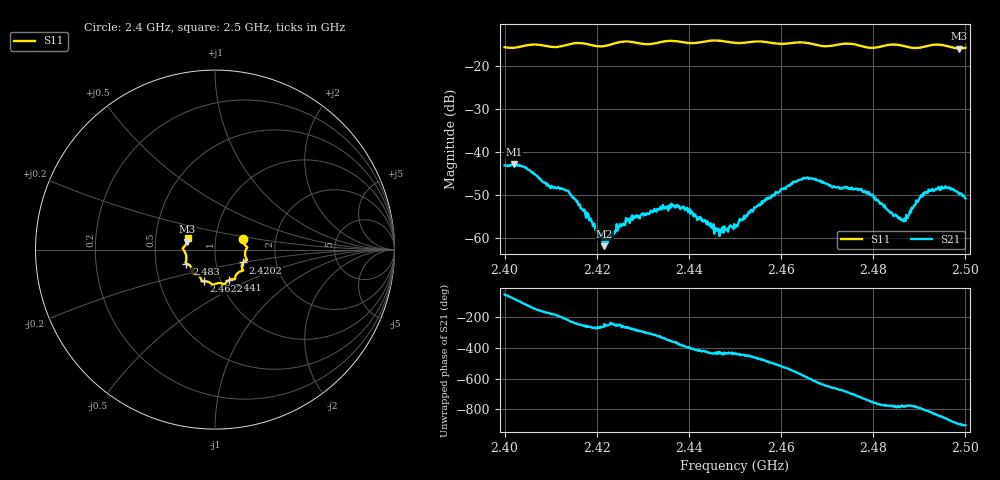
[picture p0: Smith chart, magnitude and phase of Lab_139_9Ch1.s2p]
# Hz S RI R 50
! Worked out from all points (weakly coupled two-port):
!   601 points, 2.4 GHz to 2.5 GHz, reference 50 ohm
!   highest |S21| = -42.82 dB at 2.402 GHz (marker M1); lowest = -61.9 dB at 2.4217 GHz (marker M2)
!   lowest |S11| = -15.8 dB at 2.4987 GHz (marker M3), VSWR 1.39, Z = 36.4 + j3.29 ohm
!   |S11| at or under -10 dB: start of sweep to end of sweep
!   S12 and S22 are empty: the file has one direction only
!   S11 on the Smith chart (normalised r, x): 2.4 GHz: 1.36, +0.17; 2.4202 GHz: 1.35, -0.20; 2.441 GHz: 1.10, -0.39; 2.4622 GHz: 0.83, -0.30; 2.483 GHz: 0.72, -0.12; 2.5 GHz: 0.73, +0.09
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2.4e9  0.1565 0.0607  0.00428 -0.00557  0 0  0 0
2.402e9  0.161 0.0365  0.00142 -0.00709  0 0  0 0
2.4135e9  0.1725 -0.0455  -0.0029 0.00207  0 0  0 0
2.416667e9  0.1776 -0.0581  -0.000675 0.00208  0 0  0 0
2.420167e9  0.1563 -0.0718  -8.88e-05 0.00121  0 0  0 0
2.421667e9  0.15 -0.0858  -0.000352 0.000723  0 0  0 0
2.426833e9  0.1563 -0.1169  -9.27e-06 0.00166  0 0  0 0
2.433333e9  0.1129 -0.1522  0.00176 0.00125  0 0  0 0
2.436333e9  0.1103 -0.1653  0.00247 1.81e-05  0 0  0 0
2.441e9  0.0769 -0.1705  0.00125 -0.00128  0 0  0 0
2.4465e9  0.0503 -0.1934  0.000267 -0.00123  0 0  0 0
2.45e9  0.0269 -0.1864  0.000334 -0.00128  0 0  0 0
2.462167e9  -0.063 -0.1763  -0.00421 0.00028  0 0  0 0
2.466667e9  -0.0764 -0.1669  -0.00193 0.00452  0 0  0 0
2.477e9  -0.125 -0.1232  0.00373 0.000187  0 0  0 0
2.483e9  -0.159 -0.0781  0.0012 -0.00178  0 0  0 0
2.483333e9  -0.1607 -0.0775  0.00114 -0.00174  0 0  0 0
2.4865e9  -0.1615 -0.0641  0.000817 -0.00143  0 0  0 0
2.491667e9  -0.1728 -0.00511  8.48e-05 -0.00344  0 0  0 0
2.496e9  -0.172 0.0161  -0.00309 -0.00231  0 0  0 0
2.498667e9  -0.1558 0.044  -0.00322 -0.000253  0 0  0 0
2.5e9  -0.153 0.0625  -0.00289 0.000208  0 0  0 0
